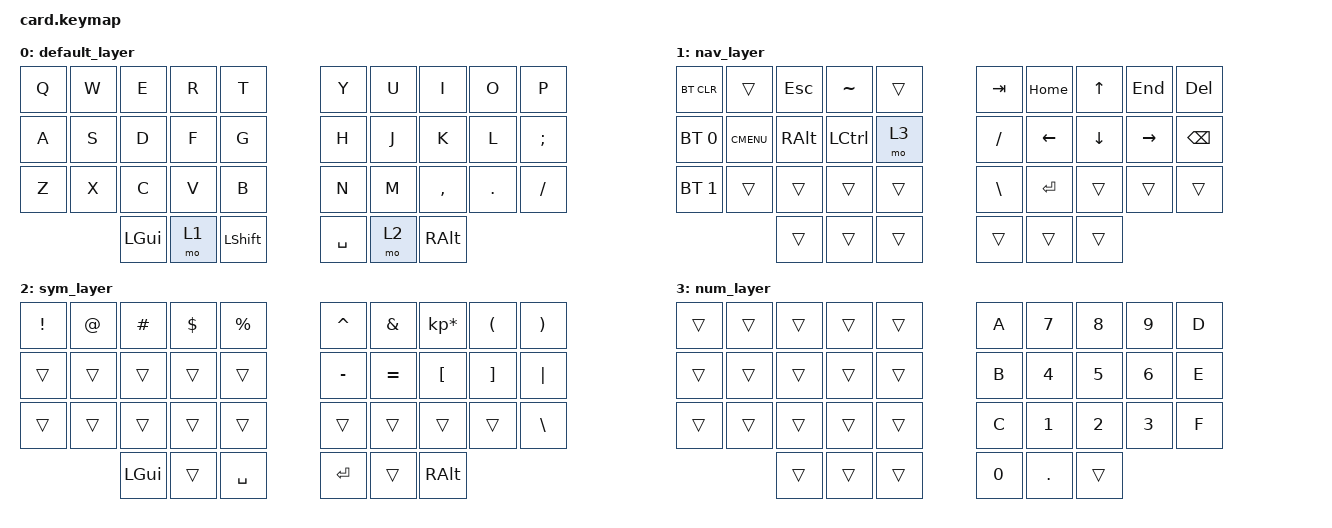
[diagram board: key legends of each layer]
/*
 * Copyright (c) 2020 The ZMK Contributors
 *
 * SPDX-License-Identifier: MIT
 */

#include <behaviors.dtsi>
#include <dt-bindings/zmk/keys.h>
#include <dt-bindings/zmk/bt.h>
#include <dt-bindings/zmk/mouse.h>



&mt {
    tapping-term-ms = <201>;
    flavor = "tap-preferred";
 };
&sk {
     release-after-ms = <2000>;
     quick-release;
 };
 
/* Layers */
#define AL1 0
#define GM 1
#define AL2 2
#define AL2U 8
#define SM1 3
#define SM2 4	
#define NM1 5	
#define SYS 6
#define BT 7	
/ { 
    combos {
        compatible = "zmk,combos";
        combo_game {
            timeout-ms = <30>;
	    key-positions = <2 3 4 5>;
            bindings = <&to GM>;
        };
        combo_sys {
            timeout-ms = <30>;
	    key-positions = <4 5 6>;
            bindings = <&to SYS>;
        };
        combo_caps {
            timeout-ms = <30>;
	    key-positions = <12 13 14>;
            bindings = <&caps_word>;
        };
        combo_bt  {
            timeout-ms = <10>;
            key-positions = <13 14>;
            bindings = <&to BT>;
	    layers = <SM1>; 
        };
        lalt {
            timeout-ms = <20>;
	    key-positions = <10 11>;
            bindings = <&kp LALT>; 
	    layers = <SYS>; 
        };
        lclk {
            timeout-ms = <20>;
	    key-positions = <12	13>;
            bindings = <&mkp LCLK>;
	    layers = <SYS>;
        };
        rclk {
            timeout-ms = <20>;
	    key-positions = <4 5>;
            bindings = <&mkp RCLK>;
	    layers = <SYS>;
        };


    };

    behaviors {
        hm: homerow_mods {
            compatible = "zmk,behavior-hold-tap";
            label = "HOMEROW_MODS";
            #binding-cells = <2>;
            tapping-term-ms = <300>;
            quick_tap_ms = <0>;
            flavor = "tap-preferred";
            bindings = <&kp>, <&kp>;
        };
        sr: shift_layer {
            compatible = "zmk,behavior-hold-tap";
            label = "SHIFT_LAYER";
            #binding-cells = <2>;
            tapping-term-ms = <300>;
            quick_tap_ms = <0>;
            flavor = "tap-preferred";
            bindings = <&kp>, <&to>;
	    retro-tap;
        };
        hl: homerow_layers {
            compatible = "zmk,behavior-hold-tap";
            label = "HOMEROW_LAYERS";
            #binding-cells = <2>;
            tapping-term-ms = <220>;
            quick_tap_ms = <0>;
            flavor = "tap-preferred";
            bindings = <&sl>, <&kp>;
        };
	td: tapdance {
            compatible = "zmk,behavior-hold-tap";
            label = "TAPDANCE";
            #binding-cells = <2>;
            tapping-term-ms = <190>;
            quick_tap_ms = <0>;
            flavor = "tap-preferred";
            bindings = <&kp>, <&kp>;
        };
	alpha2macro: behavior_macro_1 {
		compatible = "zmk,behavior-macro";
		label = "MACRO1";
		#binding-cells = <0>;
		bindings = < &sl AL2 >;
	};
    };
        keymap {
                compatible = "zmk,keymap";

                default_layer {
		// -----------------------------------------------------------------------------------------
		// |  Q  |  W  |  E  |  R  |  T   |   |  Y  |  U   |  I  |  O  |  P  |
		// |  A  |  S  |  D  |  F  |  G   |   |  H  |  J   |  K  |  L  |  ;  |
		// |  Z  |  X  |  C  |  V  |  B   |   |  N  |  M   |  ,  |  .  |  /  |
		//             | GUI | NAV | SHFT |   | SPC | SYM  | ALT |
                        bindings = <
  		 &kp Q &kp W &kp E &kp R &kp T   &kp Y &kp U  &kp I     &kp O   &kp P
  		 &kp A &kp S &kp D &kp F &kp G   &kp H &kp J  &kp K     &kp L   &kp SEMI
 		  &kp Z &kp X &kp C &kp V &kp B   &kp N &kp M  &kp COMMA &kp DOT &kp FSLH
   		       &kp LGUI &mo 1 &kp LSHFT &kp SPACE &mo 2 &kp RALT
    		                    >;
       		         };
      		          nav_layer {
		// -----------------------------------------------------------------------------------------
		// |BTCLR|     | ESC |  ~   |     |   | TAB | HOME |  UP  | END | DEL  |
		// | BT1 | GUI | ALT | CTRL | NUM |   |  /  | LEFT | DOWN | RGT | BKSP |
		// | BT2 |     |     |      |     |   |  \  | ENT  |      |     |      |
		//             |     |      |     |   |     |      |      |
                        bindings = <
 		  &bt BT_CLR   &trans      &kp ESC  &kp TILDE &trans     &kp TAB  &kp HOME &kp UP   &kp END   &kp DEL
  		 &bt BT_SEL 0 &kp K_CMENU &kp RALT &kp LCTRL &mo 3      &kp FSLH &kp LEFT &kp DOWN &kp RIGHT &kp BSPC
 		  &bt BT_SEL 1 &trans      &trans   &trans    &trans     &kp BSLH &kp RET  &trans   &trans    &trans
                            &trans   &trans    &trans     &trans   &trans   &trans
                        >;
                };

                sym_layer {
		// -----------------------------------------------------------------------------------------
		// |  !  |  @  |  #  |  $  |  %  |   |  ^  |  &  |  *  |  (  |  )  |
		// |     |     |     |     |     |   |  -  |  =  |  {  |  }  | "|" |
		// |     |     |     |     |     |   |  _  |  +  |  [  |  ]  |  \  |
		//             | GUI |     | SPC |   | ENT |     | ALT |
                        bindings = <
  		 &kp EXCL  &kp AT    &kp HASH  &kp DLLR  &kp PRCNT   &kp CARET &kp AMPS  &kp KP_MULTIPLY &kp LPAR &kp RPAR
  		 &trans    &trans    &trans    &trans    &trans      &kp MINUS &kp EQUAL &kp LBKT        &kp RBKT &kp PIPE
  		 &trans    &trans    &trans    &trans    &trans      &trans    &trans    &trans          &trans   &kp BSLH
                       &kp LGUI  &trans    &kp SPACE   &kp RET   &trans    &kp RALT
                        >;
                };

		// This layer is unreachable until "tri layer state" is sorted out.
		// Leaving it here for completeness.
                num_layer {
		// -----------------------------------------------------------------------------------------
		// |     |     |     |     |     |   |  A  |  7  |  8  |  9  |  D  |
		// |     |     |     |     |     |   |  B  |  4  |  5  |  6  |  E  |
		// |     |     |     |     |     |   |  C  |  1  |  2  |  3  |  F  |
		//             |     |     |     |   |  0  |  .  |     |
                        bindings = <
  		 &trans &trans &trans &trans &trans    &kp A  &kp N7  &kp N8 &kp N9 &kp D
 		  &trans &trans &trans &trans &trans    &kp B  &kp N4  &kp N5 &kp N6 &kp E
 		  &trans &trans &trans &trans &trans    &kp C  &kp N1  &kp N2 &kp N3 &kp F
                 &trans &trans &trans    &kp N0 &kp DOT &trans
                 >;
                };
        };
};
